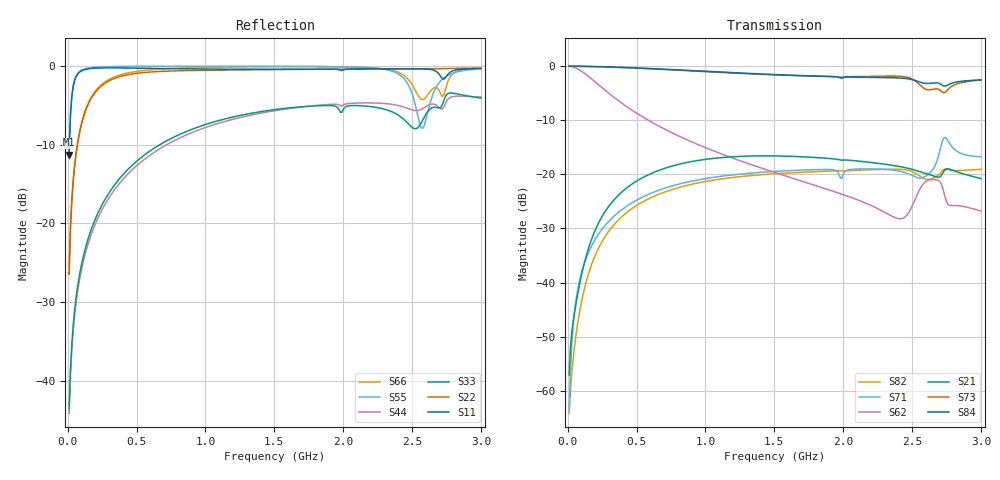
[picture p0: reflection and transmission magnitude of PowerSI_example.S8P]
!Generated from: C:\Cadence\Sigrity2023.1\share\SpeedXP\Samples\PowerSI\Hybrid\psi_pkg_wb_pre-layout.spd
! Port1_Bump::VDD25
! Port2_Bump::VDD125
! Port3_Bump::DATA1
! Port4_Bump::DATA2
! Port5_BGA::VDD25
! Port6_BGA::VDD125
! Port7_BGA::DATA1
! Port8_BGA::DATA2
!Layout Workbench Version: 23.1.3.12171.472612  300
!Computer Host Name: WINDOW10VM
!TouchstoneFormatFlag = 1
! GNDNET GND
! NETSLIST DATA1, DATA2, VDD125, VDD25
! Port 1 = DIE-1 VDD25
! Port 2 = DIE-6 VDD125
! Port 3 = DIE-3 DATA1
! Port 4 = DIE-4 DATA2
! Port 5 = BGA-6 VDD25
! Port 6 = BGA-19 VDD125
! Port 7 = BGA-1 DATA1
! Port 8 = BGA-2 DATA2
#	Hz	S	RI	R	50
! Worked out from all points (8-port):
!   300 points, 10 MHz to 3 GHz, reference 50 ohm
!   strongest paths, dB at 10 MHz, 760 MHz, 1.51 GHz, 2.26 GHz, 3 GHz:
!     S84: 0.0, -0.7, -1.6, -2.1, -2.6
!     S73: 0.0, -0.7, -1.6, -1.9, -2.6
!     S21: -57.1, -18.5, -16.6, -18.0, -20.8
!     S62: 0.0, -12.4, -19.7, -26.5, -26.8
!     S71: -63.6, -22.1, -19.5, -19.0, -16.7
!     S82: -64.2, -22.8, -19.9, -19.1, -19.1
!   lowest |S11| = -11.3 dB at 10 MHz (marker M1), VSWR 1.75, Z = 37.5 - j21.2 ohm
!   |S11| at or under -10 dB: start of sweep to 12.46 MHz
